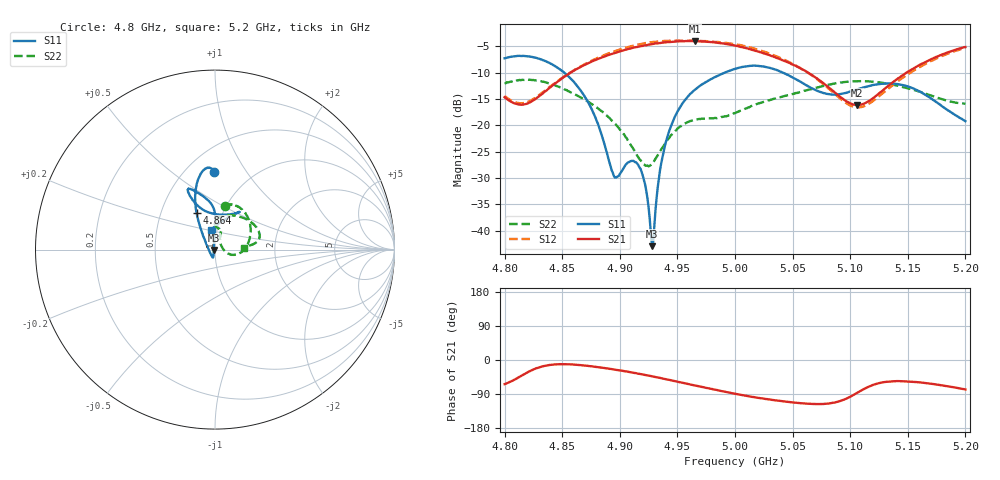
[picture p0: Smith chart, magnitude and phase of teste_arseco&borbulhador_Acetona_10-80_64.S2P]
! Network Analyzer HP8722D
! Hewlett-Packard
! Data name: Linha & Wilkinson
! Saver's name: Rodrigo Anjos
! Comments: Teste da utilização de aquisição
! continua pelo VNA HP8722D
! Time and date: 25/4/2025 15:48
!  Frequency  S11  S21  S12  S22
# HZ  S  MA R 50
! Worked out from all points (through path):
!   401 points, 4.8 GHz to 5.2 GHz, reference 50 ohm
!   highest |S21| = -3.95 dB at 4.965 GHz (marker M1); lowest = -16.1 dB at 5.106 GHz (marker M2)
!   lowest |S11| = -42.9 dB at 4.928 GHz (marker M3), VSWR 1.01, Z = 49.3 - j0.187 ohm
!   |S11| at or under -10 dB: 4.852 GHz to 4.991 GHz (138.9 MHz wide, 2.82 % of centre); 5.042 GHz to end of sweep
!   |S22| runs from -27.7 to -11.3 dB; largest |S21 - S12| = 1.2
!   S11 on the Smith chart (normalised r, x): 4.8 GHz: 0.68, +0.73; 4.864 GHz: 0.75, +0.33; 5.2 GHz: 0.94, +0.21
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4.8e9  0.4343 90.5  0.1855 -63.7  0.1905 69.8  0.2495 77.0
4.82e9  0.4534 96.8  0.1618 -32.3  0.1676 98.6  0.2727 61.5
4.864e9  0.2305 116.5  0.3504 -13.0  0.3536 121.0  0.1899 12.0
4.867e9  0.2075 118.3  0.3649 -13.9  0.3689 120.6  0.1824 8.5
4.88e9  0.1101 128.6  0.4231 -18.4  0.434 118.1  0.1479 -5.7
4.895e9  0.03292 -171.9  0.4854 -25.1  0.5028 113.6  0.1061 -15.8
4.909e9  0.04568 -107.1  0.5363 -32.2  0.5627 107.6  0.06674 -14.5
4.917e9  0.04008 -102.9  0.562 -36.5  0.5898 103.4  0.04804 -1.6
4.922e9  0.02747 -106.4  0.576 -39.5  0.604 100.6  0.04176 16.5
4.928e9  0.007151 -164.6  0.5929 -43.2  0.6186 96.9  0.04337 41.2
4.93e9  0.01128 125.0  0.5984 -44.3  0.6215 95.5  0.04633 49.2
4.934e9  0.03198 100.1  0.6045 -46.8  0.6295 93.2  0.05453 58.6
4.939e9  0.06305 92.8  0.6142 -50.0  0.6355 89.9  0.06652 66.4
4.946e9  0.1087 89.8  0.6248 -54.7  0.6378 85.6  0.08401 70.5
4.965e9  0.2176 90.9  0.6344 -67.2  0.6375 73.4  0.1142 71.8
5e9  0.3445 109.0  0.5735 -89.2  0.592 50.6  0.1311 88.6
5.03e9  0.3531 115.0  0.4647 -104.1  0.4798 33.8  0.1737 85.3
5.067e9  0.2253 105.1  0.3007 -115.9  0.298 23.6  0.2222 57.0
5.106e9  0.2194 64.3  0.1565 -86.7  0.1485 56.3  0.2634 24.7
5.134e9  0.2507 57.0  0.2423 -56.7  0.2278 88.6  0.2476 12.2
5.169e9  0.1844 69.7  0.4191 -62.2  0.4032 84.7  0.1944 6.8
5.2e9  0.1098 100.4  0.5558 -77.7  0.5459 70.1  0.161 3.9
